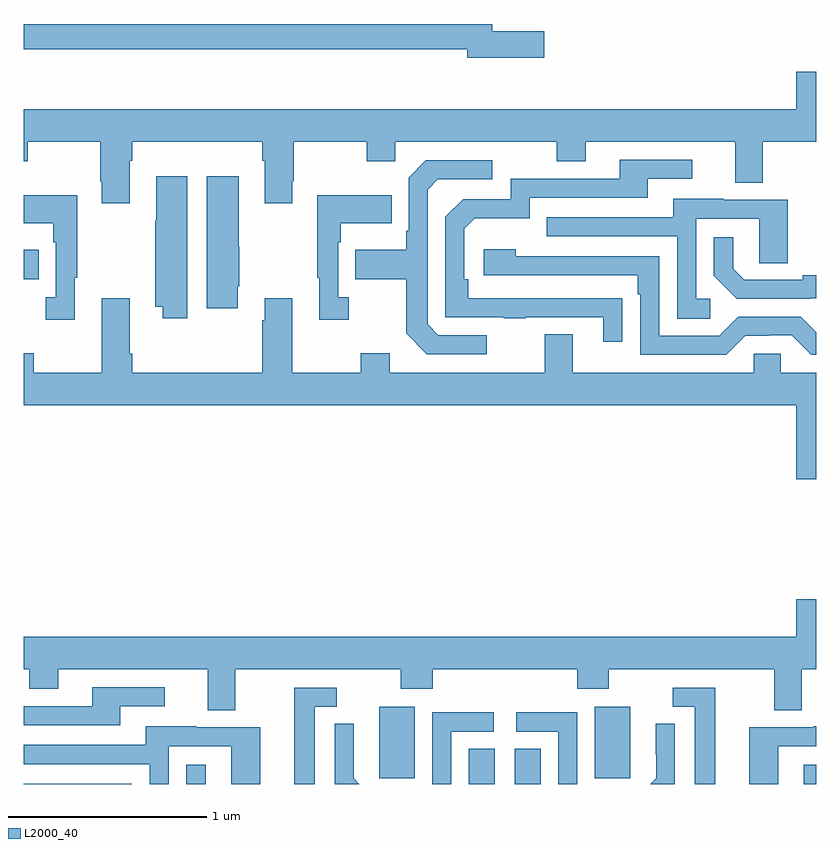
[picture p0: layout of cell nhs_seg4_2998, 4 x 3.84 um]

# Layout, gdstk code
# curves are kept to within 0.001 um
import gdstk
lib = gdstk.Library(unit=1e-6, precision=1e-09)
def R(c, l, rs):  # rectangles x0, y0, x1, y1
    for r in rs: c.add(gdstk.rectangle(r[:2], r[2:], *l))
def P(c, l, *ps):  # polygons
    for p in ps: c.add(gdstk.Polygon(p, *l))
L2000_40 = (2000, 40)

nhs_seg4_2998 = lib.new_cell('nhs_seg4_2998')
R(nhs_seg4_2998, L2000_40, [(269,802.9,269.544,802.902), (269.82,802.9,269.917,802.996), (271.247,802.9,271.378,803.078), (271.478,802.9,271.609,803.078), (272.939,802.9,273,802.996), (270.794,802.929,270.973,803.29), (271.883,802.929,272.062,803.29), (269,805.45,269.075,805.597)])
P(nhs_seg4_2998, L2000_40, [(271.627,806.702),(271.366,806.702),(271.366,806.738),(269,806.738),(269,806.61),(271.238,806.61),(271.238,806.567),(271.627,806.567)],
  [(269.533,806.048),(269.546,806.048),(269.546,806.144),(270.203,806.144),(270.203,806.048),(270.215,806.048),(270.215,805.833),(270.355,805.833),(270.355,805.945),(270.363,805.945),(270.363,806.144),(270.73,806.144),(270.73,806.045),(270.876,806.045),(270.876,806.144),(271.69,806.144),(271.69,806.045),(271.837,806.045),(271.837,806.144),(272.591,806.144),(272.591,805.936),(272.731,805.936),(272.731,806.144),(273,806.144),(273,806.497),(272.9,806.497),(272.9,806.308),(269,806.308),(269,806.045),(269.019,806.045),(269.019,806.144),(269.386,806.144),(269.386,805.945),(269.393,805.945),(269.393,805.833),(269.533,805.833)],
  [(272.021,805.352),(271.244,805.353),(271.244,805.45),(271.224,805.45),(271.224,805.704),(271.277,805.757),(271.554,805.757),(271.554,805.86),(272.149,805.86),(272.149,805.956),(272.374,805.956),(272.374,806.052),(272.009,806.052),(272.009,805.956),(271.458,805.956),(271.458,805.854),(271.218,805.854),(271.128,805.764),(271.128,805.257),(271.423,805.257),(271.423,805.252),(271.535,805.252),(271.535,805.257),(271.925,805.257),(271.925,805.134),(272.021,805.134)],
  [(271.336,805.167),(271.092,805.167),(271.038,805.221),(271.038,805.902),(271.089,805.953),(271.366,805.953),(271.366,806.049),(271.029,806.049),(270.942,805.962),(270.942,805.693),(270.93,805.693),(270.93,805.597),(270.673,805.597),(270.673,805.45),(270.93,805.45),(270.93,805.177),(271.035,805.071),(271.336,805.071)],
  [(269.824,805.969),(269.669,805.969),(269.669,805.745),(269.662,805.745),(269.662,805.31),(269.702,805.31),(269.702,805.251),(269.824,805.251)],
  [(270.079,805.414),(270.087,805.414),(270.087,805.614),(270.085,805.614),(270.085,805.969),(269.924,805.969),(269.924,805.302),(270.079,805.302)],
  [(269.257,805.457),(269.269,805.457),(269.269,805.873),(269,805.873),(269,805.733),(269.148,805.733),(269.148,805.637),(269.16,805.637),(269.16,805.358),(269.109,805.358),(269.109,805.245),(269.257,805.245)],
  [(270.64,805.358),(270.588,805.358),(270.588,805.637),(270.601,805.637),(270.601,805.733),(270.857,805.733),(270.857,805.873),(270.48,805.873),(270.48,805.457),(270.491,805.457),(270.491,805.245),(270.64,805.245)],
  [(272.467,805.35),(272.394,805.35),(272.394,805.755),(272.712,805.755),(272.712,805.531),(272.857,805.531),(272.857,805.851),(272.533,805.851),(272.533,805.855),(272.279,805.855),(272.279,805.761),(271.639,805.761),(271.639,805.665),(272.298,805.665),(272.298,805.249),(272.467,805.249)],
  [(272.972,805.353),(273,805.353),(273,805.469),(272.933,805.469),(272.933,805.446),(272.638,805.446),(272.581,805.503),(272.581,805.66),(272.484,805.66),(272.484,805.466),(272.6,805.35),(272.972,805.35)],
  [(273,805.182),(272.922,805.26),(272.607,805.26),(272.511,805.164),(272.208,805.164),(272.208,805.566),(271.484,805.566),(271.484,805.6),(271.323,805.6),(271.323,805.47),(272.099,805.47),(272.099,805.373),(272.112,805.373),(272.112,805.068),(272.547,805.068),(272.643,805.164),(272.762,805.164),(272.762,805.167),(272.877,805.167),(272.977,805.067),(273,805.067)],
  [(273,804.976),(272.823,804.976),(272.823,805.074),(272.685,805.074),(272.685,804.976),(271.771,804.976),(271.771,805.171),(271.631,805.171),(271.631,804.976),(270.847,804.976),(270.847,805.075),(270.7,805.075),(270.7,804.976),(270.355,804.976),(270.355,805.354),(270.215,805.354),(270.215,805.241),(270.203,805.241),(270.203,804.976),(269.546,804.976),(269.546,805.072),(269.533,805.072),(269.533,805.354),(269.393,805.354),(269.393,804.976),(269.049,804.976),(269.049,805.075),(269,805.075),(269,804.812),(272.9,804.812),(272.9,804.438),(273,804.438)],
  [(270.067,803.48),(270.904,803.48),(270.904,803.381),(271.064,803.381),(271.064,803.48),(271.793,803.48),(271.793,803.381),(271.953,803.381),(271.953,803.48),(272.789,803.48),(272.789,803.272),(272.929,803.272),(272.929,803.48),(273,803.48),(273,803.833),(272.9,803.833),(272.9,803.644),(269,803.644),(269,803.48),(269.026,803.48),(269.026,803.381),(269.173,803.381),(269.173,803.48),(269.927,803.48),(269.927,803.272),(270.067,803.272)],
  [(269.485,803.292),(269.71,803.292),(269.71,803.388),(269.345,803.388),(269.345,803.292),(269,803.292),(269,803.196),(269.485,803.196)],
  [(272.491,803.385),(272.277,803.385),(272.277,803.289),(272.387,803.289),(272.387,802.9),(272.491,802.9)],
  [(270.469,803.289),(270.58,803.289),(270.58,803.385),(270.365,803.385),(270.365,802.9),(270.469,802.9)],
  [(271.158,803.163),(271.372,803.163),(271.372,803.262),(271.062,803.262),(271.062,802.9),(271.158,802.9)],
  [(271.794,803.262),(271.485,803.262),(271.485,803.163),(271.698,803.163),(271.698,802.9),(271.794,802.9)],
  [(270.665,802.928),(270.665,803.05),(270.666,803.05),(270.666,803.204),(270.57,803.204),(270.57,802.9),(270.693,802.9)],
  [(272.286,803.204),(272.19,803.204),(272.19,803.05),(272.192,803.05),(272.192,802.928),(272.164,802.9),(272.286,802.9)],
  [(269.73,803.091),(270.048,803.091),(270.048,802.9),(270.193,802.9),(270.193,803.187),(269.869,803.187),(269.869,803.191),(269.615,803.191),(269.615,803.097),(269,803.097),(269,803.001),(269.634,803.001),(269.634,802.9),(269.73,802.9)],
  [(272.808,803.091),(273,803.091),(273,803.191),(272.987,803.191),(272.987,803.187),(272.663,803.187),(272.663,802.9),(272.808,802.9)])

lib.write_gds('nhs_seg4_2998.gds')
